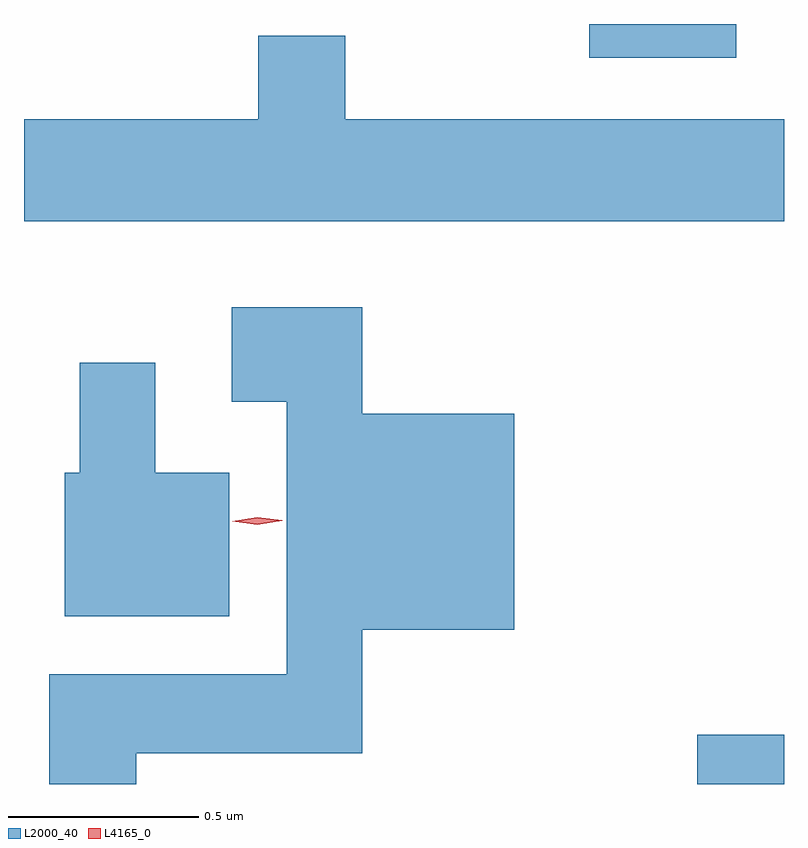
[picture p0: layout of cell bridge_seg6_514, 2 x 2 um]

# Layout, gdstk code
import gdstk
lib = gdstk.Library(unit=1e-6, precision=1e-09)
def R(c, l, rs):  # rectangles x0, y0, x1, y1
    for r in rs: c.add(gdstk.rectangle(r[:2], r[2:], *l))
def P(c, l, *ps):  # polygons
    for p in ps: c.add(gdstk.Polygon(p, *l))
L2000_40 = (2000, 40)
L4165_0 = (4165, 0)

bridge_seg6_514 = lib.new_cell('bridge_seg6_514')
R(bridge_seg6_514, L2000_40, [(617.826,1537.455,618.054,1537.584), (617.541,1539.366,617.928,1539.455)])
P(bridge_seg6_514, L2000_40, [(618.054,1539.204),(616.899,1539.204),(616.899,1539.424),(616.671,1539.424),(616.671,1539.204),(616.054,1539.204),(616.054,1538.936),(618.054,1538.936)],
  [(616.349,1537.536),(616.944,1537.536),(616.944,1537.861),(617.344,1537.861),(617.344,1538.429),(616.944,1538.429),(616.944,1538.709),(616.601,1538.709),(616.601,1538.461),(616.746,1538.461),(616.746,1537.744),(616.121,1537.744),(616.121,1537.455),(616.349,1537.455)],
  [(616.594,1538.274),(616.399,1538.274),(616.399,1538.564),(616.201,1538.564),(616.201,1538.274),(616.161,1538.274),(616.161,1537.896),(616.594,1537.896)])
P(bridge_seg6_514, L4165_0, [(616.668,1538.137),(616.602,1538.146),(616.601,1538.147),(616.602,1538.147),(616.668,1538.157),(616.734,1538.149),(616.734,1538.148),(616.734,1538.148)])

lib.write_gds('bridge_seg6_514.gds')
